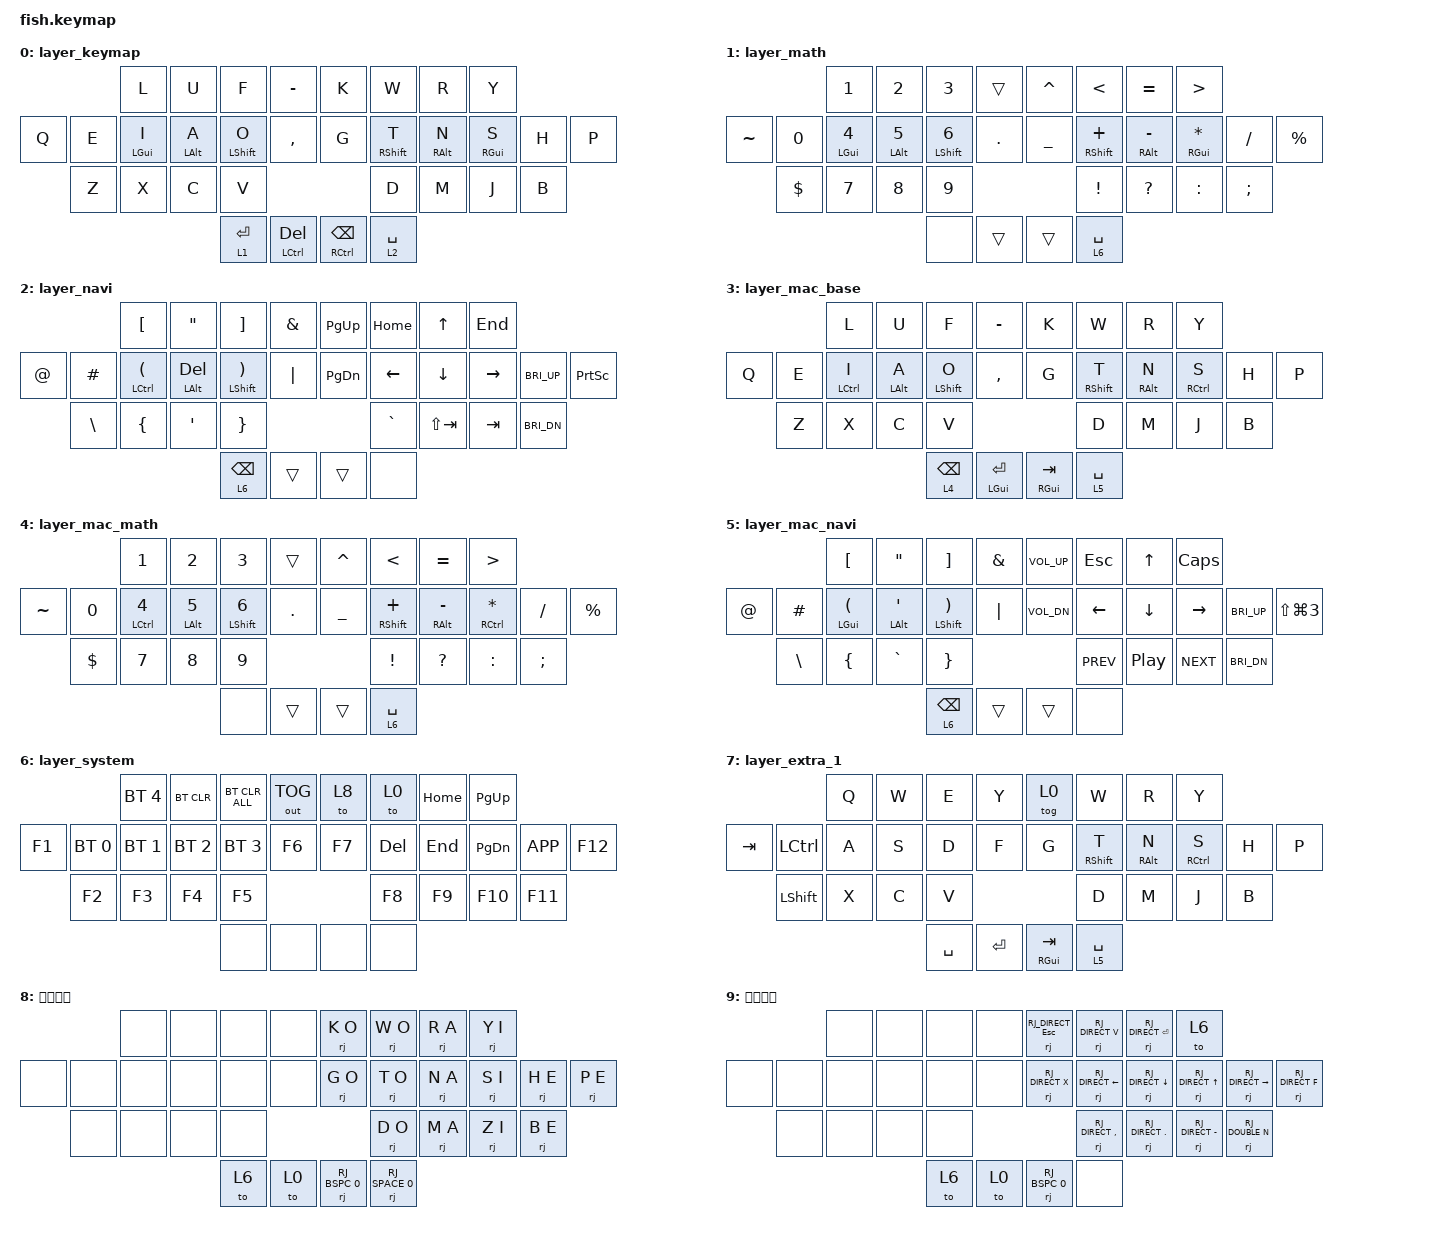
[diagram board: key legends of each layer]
// デフォルトキーマップ（大西配列、Win優先、ANSI方式）
// キーマップを更新する方法は https://o24.works/fish/guide を参照
// 視覚的に編集するには https://o24.works/fish/editor を参照


// 定義を呼んでくる
#include <behaviors.dtsi>
#include <dt-bindings/zmk/keys.h>
#include <dt-bindings/zmk/mouse.h>
#include <dt-bindings/zmk/bt.h>
#include <dt-bindings/zmk/outputs.h>
#include <dt-bindings/zmk/pointing.h>

// 大西雷神: 右手版の試作。0〜3は専用behaviorの操作、その他は子音キーコード。
#define RJ_SPACE 0
#define RJ_BSPC 1
#define RJ_DIRECT 2
#define RJ_DOUBLE 3


// 特殊入力の挙動を調整できる

&mt {
    flavor = "tap-preferred";
    tapping-term-ms = <150>;
    quick-tap-ms = <200>;
    require-prior-idle-ms = <150>;
};

&lt {
    flavor = "balanced";
    tapping-term-ms = <175>;
    quick-tap-ms = <200>;
};

&sk {
};

&sl {
};

&caps_word {
};

&key_repeat {
};


/ {
    // 独自の入力を定義できる（上級者向け）

    behaviors {
        rj: onishi_raijin {
            compatible = "zmk,behavior-onishi-raijin";
            #binding-cells = <2>;
            display-name = "Onishi Raijin";
            main-layer = <8>;
            auxiliary-layer = <9>;
            tapping-term-ms = <180>;
            vowel-positions = <6 15 16 17 18>;
            vowel-keycodes = <U O A I E>;
        };

        macro_xn: macro_xn {
            compatible = "zmk,behavior-macro";
            label = "MACRO_XN";
            #binding-cells = <0>;
            bindings = <&kp X>, <&kp N>;
        };

        // 右
        td_right: tap_dance_right {
            compatible = "zmk,behavior-tap-dance";
            label = "TD_RIGHT";
            #binding-cells = <0>;
            tapping-term-ms = <200>;      // 連打判定時間。好みで調整
            bindings = <&kp RIGHT_ARROW>, <&right5>;
        };

        // 左
        td_left: tap_dance_left {
            compatible = "zmk,behavior-tap-dance";
            label = "TD_LEFT";
            #binding-cells = <0>;
            tapping-term-ms = <200>;
            bindings = <&kp LEFT_ARROW>, <&left5>;
        };

        // 上
        td_up: tap_dance_up {
            compatible = "zmk,behavior-tap-dance";
            label = "TD_UP";
            #binding-cells = <0>;
            tapping-term-ms = <200>;
            bindings = <&kp UP_ARROW>, <&up5>;
        };

        // 下
        td_down: tap_dance_down {
            compatible = "zmk,behavior-tap-dance";
            label = "TD_DOWN";
            #binding-cells = <0>;
            tapping-term-ms = <200>;
            bindings = <&kp DOWN_ARROW>, <&down5>;
        };

    };

    macros {
        right5: right5 {
            compatible = "zmk,behavior-macro";
            #binding-cells = <0>;
            bindings = <
                &kp RIGHT_ARROW
                &kp RIGHT_ARROW
                &kp RIGHT_ARROW
                &kp RIGHT_ARROW
                &kp RIGHT_ARROW
            >;
        };

        left5: left5 {
            compatible = "zmk,behavior-macro";
            #binding-cells = <0>;
            bindings = <
                &kp LEFT_ARROW
                &kp LEFT_ARROW
                &kp LEFT_ARROW
                &kp LEFT_ARROW
                &kp LEFT_ARROW
            >;
        };

        up5: up5 {
            compatible = "zmk,behavior-macro";
            #binding-cells = <0>;
            bindings = <
                &kp UP_ARROW
                &kp UP_ARROW
                &kp UP_ARROW
                &kp UP_ARROW
                &kp UP_ARROW
            >;
        };

        down5: down5 {
            compatible = "zmk,behavior-macro";
            #binding-cells = <0>;
            bindings = <
                &kp DOWN_ARROW
                &kp DOWN_ARROW
                &kp DOWN_ARROW
                &kp DOWN_ARROW
                &kp DOWN_ARROW
            >;
        };
    };

    conditional_layers {
    };


    // 複数キーの同時押しに特別の入力を設定できる
    // キー番号早見表：
    //       0  1  2  3     4  5  6  7
    // 8  9 10 11 12 13    14 15 16 17 18 19
    //   20 21 22 23          24 25 26 27
    //            28 29    30 31

    combos {
        compatible = "zmk,combos";
        timeout-ms = <100>;
        require-prior-idle-ms = <150>;

        combo_lang2 {
            layers = <0 1 2 3 4 5 6 7>;
            key-positions = <11 12>;
            bindings = <&kp LANG2>;
        };

        combo_esc {
            layers = <0 1 2 3 4 5 6 7>;
            key-positions = <0 1>;
            bindings = <&kp ESC>;
        };

        combo_xn {
            layers = <0 1 2 3 4 5 6 7>;
            key-positions = <16 17>;
            bindings = <&macro_xn>;
        };

        combo_lang1 {
            layers = <0 1 2 3 4 5 6 7>;
            key-positions = <15 16>;
            bindings = <&kp LANG1>;
        };

        combo_reset_L {
            layers = <0 1 2 3 4 5 6 7>;
            key-positions = <3 8 13>;
            bindings = <&bootloader>;
        };

        combo_reset_R {
            layers = <0 1 2 3 4 5 6 7>;
            key-positions = <4 14 19>;
            bindings = <&bootloader>;
        };

        combo_studio_unlock {
            layers = <0 1 2 3 4 5 6 7>;
            key-positions = <20 21 22 23>;
            bindings = <&studio_unlock>;
        };
    };
    

    // キーに入力を割り当てる
    // 型（&...）は https://zmk.dev/docs/behaviors/... を参照
    // キーコードは https://zmk.dev/docs/codes/... を参照

    keymap {
        compatible = "zmk,keymap";

        layer_keymap {
            bindings = <
                        &kp L       &kp U       &kp F       &kp MINUS           &kp K       &kp W       &kp R       &kp Y       
&kp Q       &kp E       &mt LGUI I  &mt LALT A  &mt LSHFT O &kp COMMA           &kp G       &mt RSHFT T &mt RALT N  &mt RGUI S  &kp H       &kp P       
            &kp Z       &kp X       &kp C       &kp V                                       &kp D       &kp M       &kp J       &kp B       
                                                &lt 1 RET   &mt LCTRL DEL       &mt RCTRL BSPC &lt 2 SPACE 
            >;
        };

        layer_math {
            bindings = <
                        &kp N1      &kp N2      &kp N3      &trans              &kp CARET   &kp LT      &kp EQUAL   &kp GT      
&kp TILDE   &kp N0      &mt LGUI N4 &mt LALT N5 &mt LSHFT N6 &kp DOT            &kp UNDER   &mt RSHFT PLUS &mt RALT MINUS &mt RGUI STAR &kp FSLH &kp PRCNT 
            &kp DLLR    &kp N7      &kp N8      &kp N9                                      &kp EXCL    &kp QMARK   &kp COLON   &kp SEMI    
                                                &none       &trans              &trans      &lt 6 SPACE 
            >;
        };

        layer_navi {
            bindings = <
                        &kp LBKT    &kp DQT     &kp RBKT    &kp AMPS            &kp PG_UP   &kp HOME    &kp UP      &kp END     
&kp AT      &kp HASH    &mt LCTRL LPAR &mt LALT DEL &mt LSHFT RPAR &kp PIPE     &kp PG_DN   &kp LEFT    &kp DOWN    &kp RIGHT   &kp C_BRI_UP &kp PSCRN  
            &kp BSLH    &kp LBRC    &kp SQT     &kp RBRC                                    &kp GRAVE   &kp LS(TAB) &kp TAB     &kp C_BRI_DN 
                                                &lt 6 BSPC  &trans              &trans      &none       
            >;
        };

        layer_mac_base {
            bindings = <
                        &kp L       &kp U       &kp F       &kp MINUS           &kp K       &kp W       &kp R       &kp Y       
&kp Q       &kp E       &mt LCTRL I &mt LALT A  &mt LSHFT O &kp COMMA           &kp G       &mt RSHFT T &mt RALT N  &mt RCTRL S &kp H       &kp P       
            &kp Z       &kp X       &kp C       &kp V                                       &kp D       &kp M       &kp J       &kp B       
                                                &lt 4 BSPC  &mt LGUI RET        &mt RGUI TAB &lt 5 SPACE 
            >;
        };

        layer_mac_math {
            bindings = <
                        &kp N1      &kp N2      &kp N3      &trans              &kp CARET   &kp LT      &kp EQUAL   &kp GT      
&kp TILDE   &kp N0      &mt LCTRL N4 &mt LALT N5 &mt LSHFT N6 &kp DOT           &kp UNDER   &mt RSHFT PLUS &mt RALT MINUS &mt RCTRL STAR &kp FSLH &kp PRCNT 
            &kp DLLR    &kp N7      &kp N8      &kp N9                                      &kp EXCL    &kp QMARK   &kp COLON   &kp SEMI    
                                                &none       &trans              &trans      &lt 6 SPACE 
            >;
        };

        layer_mac_navi {
            bindings = <
                        &kp LBKT    &kp DQT     &kp RBKT    &kp AMPS            &kp C_VOL_UP &kp ESC    &kp UP      &kp CAPS    
&kp AT      &kp HASH    &mt LGUI LPAR &mt LALT SQT &mt LSHFT RPAR &kp PIPE      &kp C_VOL_DN &kp LEFT   &kp DOWN    &kp RIGHT   &kp C_BRI_UP &kp LS(LG(N3)) 
            &kp BSLH    &kp LBRC    &kp GRAVE   &kp RBRC                                    &kp C_PREV  &kp C_PP    &kp C_NEXT  &kp C_BRI_DN 
                                                &lt 6 BSPC  &trans              &trans      &none       
            >;
        };

        layer_system {
            bindings = <
                        &bt BT_SEL 4 &bt BT_CLR &bt BT_CLR_ALL &out OUT_TOG     &to 8       &to 0       &kp HOME    &kp PG_UP
&kp F1      &bt BT_SEL 0 &bt BT_SEL 1 &bt BT_SEL 2 &bt BT_SEL 3 &kp F6          &kp F7      &kp DEL     &kp END     &kp PG_DN   &kp K_APP   &kp F12     
            &kp F2      &kp F3      &kp F4      &kp F5                                      &kp F8      &kp F9      &kp F10     &kp F11     
                                                &none       &none               &none       &none       
            >;
        };

        layer_extra_1 {
            bindings = <
                        &kp Q       &kp W       &kp E       &kp Y           &tog 0       &kp W       &kp R       &kp Y       
&kp TAB     &kp LCTRL   &kp A       &kp S       &kp D       &kp F           &kp G       &mt RSHFT T &mt RALT N  &mt RCTRL S &kp H       &kp P       
            &kp LSHFT   &kp X       &kp C       &kp V                                       &kp D       &kp M       &kp J       &kp B       
                                                &kp SPACE  &kp RET        &mt RGUI TAB &lt 5 SPACE 
            >;
        };

        layer_extra_2 {
            display-name = "大西雷神";
            // &rj 子音 可変Space母音。子音保持中のR/T/N/S/H位置はU/O/A/I/E。
            // 左親指: system / 通常配列。右親指: Backspace・補助・U / Space・母音。
            bindings = <
                        &none       &none       &none       &none               &rj K O     &rj W O     &rj R A     &rj Y I
&none       &none       &none       &none       &none       &none               &rj G O     &rj T O     &rj N A     &rj S I     &rj H E     &rj P E
            &none       &none       &none       &none                                       &rj D O     &rj M A     &rj Z I     &rj B E
                                                &to 6       &to 0               &rj RJ_BSPC 0 &rj RJ_SPACE 0
            >;
        };

        layer_extra_3 {
            display-name = "雷神補助";
            // 右Backspaceを先に保持すると有効。離すとL8へ。右上7でsystemへ。
            bindings = <
                        &none       &none       &none       &none               &rj RJ_DIRECT ESC &rj RJ_DIRECT V &rj RJ_DIRECT RET &to 6
&none       &none       &none       &none       &none       &none               &rj RJ_DIRECT X &rj RJ_DIRECT LEFT &rj RJ_DIRECT DOWN &rj RJ_DIRECT UP &rj RJ_DIRECT RIGHT &rj RJ_DIRECT F
            &none       &none       &none       &none                                       &rj RJ_DIRECT COMMA &rj RJ_DIRECT DOT &rj RJ_DIRECT MINUS &rj RJ_DOUBLE N
                                                &to 6       &to 0               &rj RJ_BSPC 0 &none
            >;
        };
    };
};
